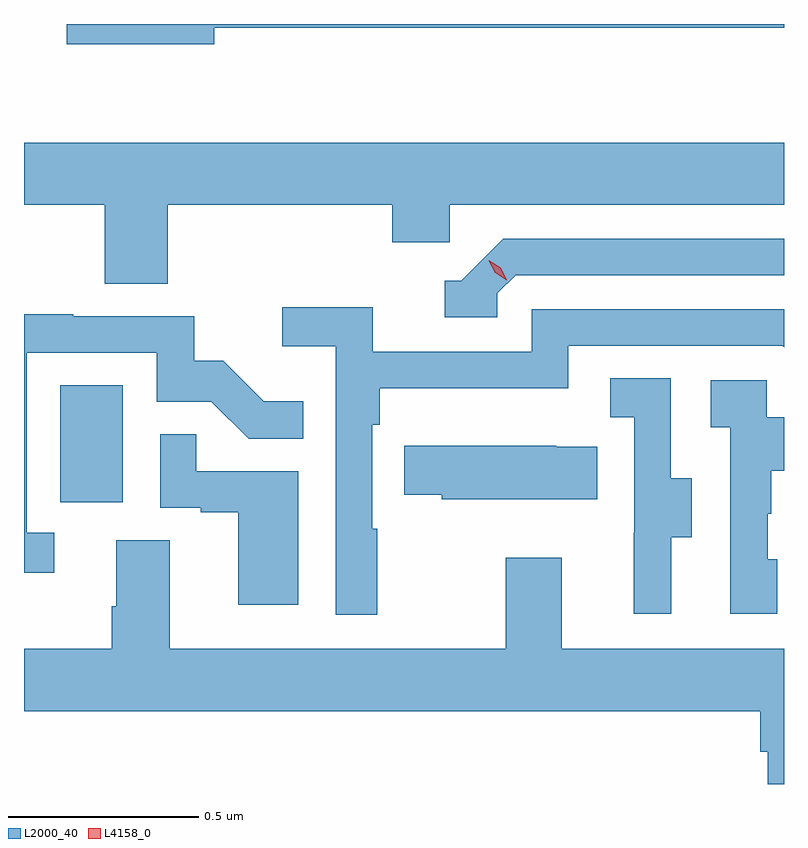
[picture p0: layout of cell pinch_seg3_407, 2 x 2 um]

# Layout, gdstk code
import gdstk
lib = gdstk.Library(unit=1e-6, precision=1e-09)
def R(c, l, rs):  # rectangles x0, y0, x1, y1
    for r in rs: c.add(gdstk.rectangle(r[:2], r[2:], *l))
def P(c, l, *ps):  # polygons
    for p in ps: c.add(gdstk.Polygon(p, *l))
L2000_40 = (2000, 40)
L4158_0 = (4158, 0)

pinch_seg3_407 = lib.new_cell('pinch_seg3_407')
R(pinch_seg3_407, L2000_40, [(924.782,689.478,924.946,689.785)])
P(pinch_seg3_407, L2000_40, [(925.186,690.726),(926.686,690.726),(926.686,690.736),(924.798,690.736),(924.798,690.683),(925.186,690.683)],
  [(925.064,690.26),(925.655,690.26),(925.655,690.162),(925.806,690.162),(925.806,690.26),(926.686,690.26),(926.686,690.424),(924.686,690.424),(924.686,690.26),(924.899,690.26),(924.899,690.052),(925.064,690.052)],
  [(925.932,690.027),(925.98,690.075),(926.686,690.075),(926.686,690.171),(925.947,690.171),(925.836,690.06),(925.793,690.06),(925.793,689.964),(925.932,689.964)],
  [(925.615,689.408),(925.602,689.408),(925.602,689.681),(925.622,689.681),(925.622,689.777),(926.118,689.777),(926.118,689.889),(926.682,689.889),(926.686,689.885),(926.686,689.985),(926.022,689.985),(926.022,689.874),(925.604,689.874),(925.604,689.99),(925.365,689.99),(925.365,689.888),(925.506,689.888),(925.506,689.181),(925.615,689.181)],
  [(924.766,689.397),(924.693,689.397),(924.693,689.871),(925.035,689.871),(925.035,689.742),(925.179,689.742),(925.277,689.644),(925.421,689.644),(925.421,689.743),(925.317,689.743),(925.21,689.85),(925.134,689.85),(925.134,689.967),(924.815,689.967),(924.815,689.972),(924.686,689.972),(924.686,689.292),(924.766,689.292)],
  [(926.389,689.386),(926.443,689.386),(926.443,689.541),(926.388,689.541),(926.388,689.804),(926.229,689.804),(926.229,689.701),(926.292,689.701),(926.292,689.397),(926.291,689.397),(926.291,689.184),(926.389,689.184)],
  [(926.668,689.328),(926.643,689.328),(926.643,689.447),(926.653,689.447),(926.653,689.561),(926.686,689.561),(926.686,689.701),(926.64,689.701),(926.64,689.799),(926.493,689.799),(926.493,689.675),(926.544,689.675),(926.544,689.184),(926.668,689.184)],
  [(925.408,689.559),(925.139,689.559),(925.139,689.657),(925.044,689.657),(925.044,689.463),(925.151,689.463),(925.151,689.451),(925.25,689.451),(925.25,689.208),(925.408,689.208)],
  [(926.195,689.623),(926.087,689.623),(926.087,689.626),(925.687,689.626),(925.687,689.497),(925.785,689.497),(925.785,689.486),(926.195,689.486)],
  [(926.686,689.092),(926.101,689.092),(926.101,689.332),(925.954,689.332),(925.954,689.092),(925.069,689.092),(925.069,689.378),(924.929,689.378),(924.929,689.204),(924.917,689.204),(924.917,689.092),(924.686,689.092),(924.686,688.928),(926.623,688.928),(926.623,688.821),(926.643,688.821),(926.643,688.736),(926.686,688.736)])
P(pinch_seg3_407, L4158_0, [(925.957,690.062),(925.926,690.081),(925.909,690.113),(925.909,690.114),(925.909,690.114),(925.94,690.094),(925.957,690.062),(925.957,690.062)])

lib.write_gds('pinch_seg3_407.gds')
